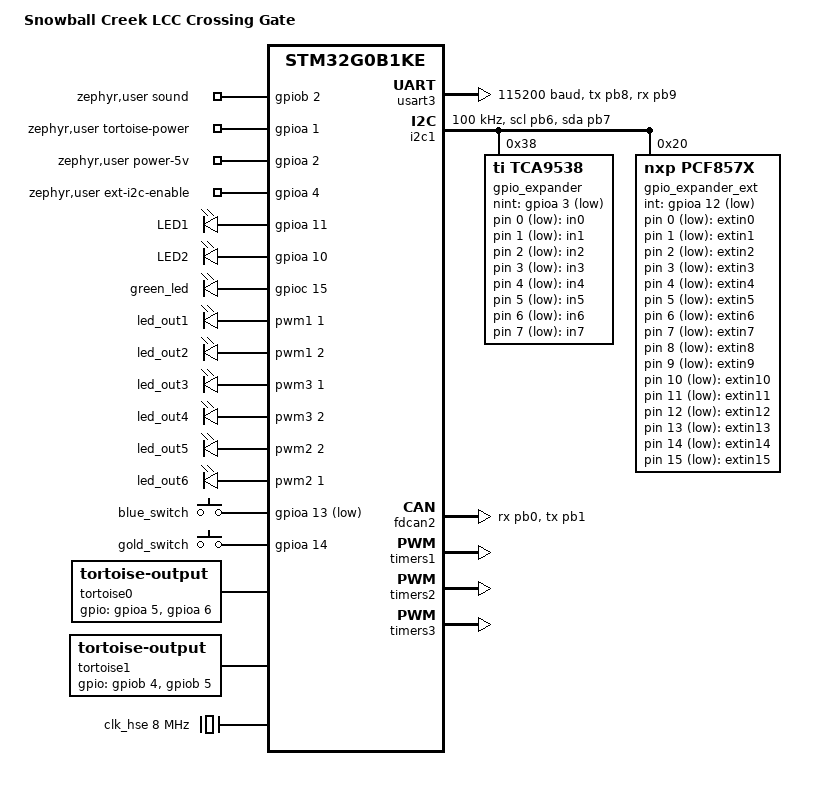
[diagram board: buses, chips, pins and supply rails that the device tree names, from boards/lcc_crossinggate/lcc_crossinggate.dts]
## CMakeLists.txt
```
# SPDX-License-Identifier: Apache-2.0

cmake_minimum_required(VERSION 3.20.0)
find_package(Zephyr REQUIRED HINTS $ENV{ZEPHYR_BASE})
project(LCC-Tortoise)

# Bring in the LCC library
#set(LIBLCC_ENABLE_STATIC_CONTEXT ON)
#add_subdirectory(TrainUtils/LCC)

# Zephyr does not want to play with third party libraries nicely:
# https://github.com/zephyrproject-rtos/zephyr/issues/8439
# So we do the highly annoying thing here of re-creating part of the liblcc cmake file
# in order to bring in all of the sources that we need
include(TrainUtils/LCC/lcc-version)

file(GLOB lcc-sources
    TrainUtils/LCC/*.c
    TrainUtils/LCC/*.h
)

target_sources(app PRIVATE 
	src/main.c 
	src/tortoise.c 
	src/lcc-tortoise-state.c
	src/dcc-decode.c
	${lcc-sources}
)
target_include_directories(app PRIVATE
	${CMAKE_CURRENT_SOURCE_DIR}/TrainUtils/LCC
	${CMAKE_CURRENT_BINARY_DIR}/TrainUtils/LCC
)


string(REPLACE "." ";" VERSION_LIST ${LIBLCC_VERSION})
list(GET VERSION_LIST 0 LCC_VERSION_MAJOR)
list(GET VERSION_LIST 1 LCC_VERSION_MINOR)
list(GET VERSION_LIST 2 LCC_VERSION_PATCH)
target_compile_definitions(app PRIVATE
    LIBLCC_BUILD
    LIBLCC_MAJOR=${LCC_VERSION_MAJOR}
    LIBLCC_MINOR=${LCC_VERSION_MINOR}
    LIBLCC_MICRO=${LCC_VERSION_PATCH}
    LIBLCC_HAS_CONFIG_H
)
set(LIBLCC_DEBUG 0)
set(LIBLCC_ENABLE_STATIC_CONTEXT 1)
configure_file( TrainUtils/LCC/lcc-config.h.cmake TrainUtils/LCC/lcc-config.h )
```

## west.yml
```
# Copyright (c) 2021 Nordic Semiconductor ASA
# SPDX-License-Identifier: Apache-2.0

manifest:
  defaults:
    remote: zephyrproject-rtos

  self:
    path: lcc-tortoise

  remotes:
    - name: zephyrproject-rtos
      url-base: https://github.com/zephyrproject-rtos

  projects:
    - name: zephyr
      remote: zephyrproject-rtos
      revision: 3568e1b6d5cdd51a6b964a2a1d6d29200fea2056
      import:
        # By using name-allowlist we can clone only the modules that are
        # strictly needed by the application.
        name-allowlist:
          - cmsis_6      # required by the ARM port
          - hal_stm32  # required by the nucleo_f302r8 board (STM32 based)
          - hal_renesas
    - name: mcuboot
      revision: eecc3f7dab98fee2be213f7b6519a4ad37a65688
      path: bootloader/mcuboot
      groups:
        - bootloader
    - name: mbedtls
      revision: be1dd5b11d8f59af0ab0995985e348a429999013
      path: modules/crypto/mbedtls
      groups:
        - crypto
```

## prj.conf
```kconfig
CONFIG_POLL=y
CONFIG_CAN=y
CONFIG_CAN_INIT_PRIORITY=80
CONFIG_CAN_MAX_FILTER=5

CONFIG_GPIO=y
CONFIG_STATS=y
CONFIG_STATS_NAMES=y
CONFIG_STATS_SHELL=y
CONFIG_CAN_STATS=y

CONFIG_EEPROM=y
CONFIG_FLASH=y
```

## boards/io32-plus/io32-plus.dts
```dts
/*
 * Copyright (c) 2024 Robert Middleton
 *
 * SPDX-License-Identifier: Apache-2.0
 */

/dts-v1/;
#include <st/g0/stm32g0b1Xe.dtsi>
#include <st/g0/stm32g0b1k(b-c-e)tx-pinctrl.dtsi>
#include <zephyr/dt-bindings/input/input-event-codes.h>
#include <zephyr/dt-bindings/pinctrl/stm32-pinctrl.h>
#include <zephyr/dt-bindings/pinctrl/stm32-pinctrl-common.h>

/* CPU: STM32G0B1KE
 * FLASH: 512k
 * SRAM: 128(parity-protected)/144(not parity-protected)
 */

/ {
	model = "io32-plus";
	compatible = "st,stm32g0b1ke-smtc8";

	chosen {
		zephyr,console = &usart2;
		zephyr,shell-uart = &usart2;
		zephyr,uart-mcumgr = &usart2;
		zephyr,sram = &sram0;
		zephyr,flash = &flash0;
		zephyr,code-partition = &slot0_partition;
		zephyr,canbus = &fdcan2;
	};

	aliases {
		greenled = &green_led;
		blueled = &blue_led;
		goldled = &gold_led;
		blueswitch = &blue_switch;
		gpioreset = &gpio_exp_reset;
	};

	zephyr,user {
		output-gpios = <&gpio_expander 0 GPIO_ACTIVE_HIGH>,
		         <&gpio_expander 1 GPIO_ACTIVE_HIGH>,
		         <&gpio_expander 2 GPIO_ACTIVE_HIGH>,
		         <&gpio_expander 3 GPIO_ACTIVE_HIGH>,
		         <&gpio_expander 4 GPIO_ACTIVE_HIGH>,
		         <&gpio_expander 5 GPIO_ACTIVE_HIGH>,
		         <&gpio_expander 6 GPIO_ACTIVE_HIGH>,
		         <&gpio_expander 7 GPIO_ACTIVE_HIGH>,
		         <&gpio_expander2 0 GPIO_ACTIVE_HIGH>,
		         <&gpio_expander2 1 GPIO_ACTIVE_HIGH>,
		         <&gpio_expander2 2 GPIO_ACTIVE_HIGH>,
		         <&gpio_expander2 3 GPIO_ACTIVE_HIGH>,
		         <&gpio_expander2 4 GPIO_ACTIVE_HIGH>,
		         <&gpio_expander2 5 GPIO_ACTIVE_HIGH>,
		         <&gpio_expander2 6 GPIO_ACTIVE_HIGH>,
		         <&gpio_expander2 7 GPIO_ACTIVE_HIGH>;

		input-gpios = <&gpio_in0 0 GPIO_ACTIVE_HIGH>,
				<&gpio_in0 1 GPIO_ACTIVE_HIGH>,
				<&gpio_in0 2 GPIO_ACTIVE_HIGH>,
				<&gpio_in0 3 GPIO_ACTIVE_HIGH>,
				<&gpio_in0 4 GPIO_ACTIVE_HIGH>,
				<&gpio_in0 5 GPIO_ACTIVE_HIGH>,
				<&gpio_in0 6 GPIO_ACTIVE_HIGH>,
				<&gpio_in0 7 GPIO_ACTIVE_HIGH>,
				<&gpio_in1 0 GPIO_ACTIVE_HIGH>,
				<&gpio_in1 1 GPIO_ACTIVE_HIGH>,
				<&gpio_in1 2 GPIO_ACTIVE_HIGH>,
				<&gpio_in1 3 GPIO_ACTIVE_HIGH>,
				<&gpio_in1 4 GPIO_ACTIVE_HIGH>,
				<&gpio_in1 5 GPIO_ACTIVE_HIGH>,
				<&gpio_in1 6 GPIO_ACTIVE_HIGH>,
				<&gpio_in1 7 GPIO_ACTIVE_HIGH>;
	};

	leds: leds {
		compatible = "gpio-leds";
		green_led: led_g {
			gpios = <&gpioc 6 GPIO_ACTIVE_HIGH>;
			label = "Green LED";
		};
		blue_led: led_b {
			gpios = <&gpiob 8 GPIO_ACTIVE_HIGH>;
			label = "Blue LED";
		};
		gold_led: led_gl {
			gpios = <&gpiob 9 GPIO_ACTIVE_HIGH>;
			label = "Gold LED";
		};

		gpio_exp_reset: foo {
			gpios = <&gpioa 8 GPIO_ACTIVE_HIGH>;
		};
	};

	gpio_keys {
		compatible = "gpio-keys";
		blue_switch: button_blue {
			label = "blue_switch";
			gpios = <&gpioa 5 (GPIO_ACTIVE_LOW)>;
		};
		gold_switch: button_gold {
			label = "gold_switch";
			gpios = <&gpioa 14 (GPIO_ACTIVE_HIGH)>;
		};
	};
};

/*
&clk_lsi {
	status = "okay";
};

&clk_hsi {
	status = "okay";
};

&clk_hsi48 {
	status = "okay";
	crs-usb-sof;
};
*/

&clk_hse {
	status = "okay";
	hse-bypass;
	clock-frequency = <DT_FREQ_M(8)>;
};

&pll {
	div-m = <1>;
	mul-n = <16>;
	div-p = <2>;
	div-q = <2>;
	div-r = <4>;
	clocks = <&clk_hse>;
	status = "okay";
};


&rcc {
	clocks = <&pll>;
	clock-frequency = <DT_FREQ_M(32)>;
	ahb-prescaler = <1>;
	apb1-prescaler = <1>;
};


/*
zephyr_udc0: &usb {
	pinctrl-0 = <&usb_dm_pa11 &usb_dp_pa12>;
	pinctrl-names = "default";
	status = "okay";
};
*/

/*
&usart1 {
	pinctrl-0 = <&usart1_tx_pc4 &usart1_rx_pc5>;
	pinctrl-names = "default";
	current-speed = <115200>;
	status = "disabled";
};
*/


/*
&rtc {
	clocks = <&rcc STM32_CLOCK_BUS_APB1 0x00000400>,
		 <&rcc STM32_SRC_LSI RTC_SEL(2)>;
	status = "okay";
};

&iwdg {
	status = "okay";
};
*/

&spi1 {
	pinctrl-0 = <&spi1_sck_pb3
		     &spi1_miso_pb4 &spi1_mosi_pb5>;
	pinctrl-names = "default";
	status = "okay";

	cs-gpios = <&gpiob 6 GPIO_ACTIVE_LOW>,
                   <&gpiob 7 GPIO_ACTIVE_LOW>;

	gpio_expander: mcp23s08@0 {
		compatible = "microchip,mcp23s08";
		spi-max-frequency = <1000000>;
		reg = <0x0>;
		gpio-controller;
		#gpio-cells = <2>;
		ngpios = <8>;
		reset-gpios = <&gpioa 8 GPIO_ACTIVE_LOW>;
	};
	gpio_expander2: mcp23s08@1 {
		compatible = "microchip,mcp23s08";
		spi-max-frequency = <1000000>;
		reg = <0x1>;
		gpio-controller;
		#gpio-cells = <2>;
		ngpios = <8>;
		reset-gpios = <&gpioa 8 GPIO_ACTIVE_LOW>;
	};
};

&usart2 {
	pinctrl-0 = <&usart2_tx_pa2 &usart2_rx_pa3>;
	pinctrl-names = "default";
	current-speed = <115200>;
	status = "okay";
};

&flash0 {
	partitions {
		compatible = "fixed-partitions";
		#address-cells = <1>;
		#size-cells = <1>;

		/* We have 512k of flash, so let's not worry too much about space */
		boot_partition: partition@0 {
			label = "bootloader";
			reg = <0x00000000 DT_SIZE_K(48)>;
			read-only;
		};
		slot0_partition: partition@C000 {
			label = "image-0";
			reg = <0x0000C000 DT_SIZE_K(232)>;
		};
		slot1_partition: partition@46000 {
			label = "image-1";
			reg = <0x00046000 DT_SIZE_K(232)>;
		};
	};
};

&fdcan2 {
	clocks = <&rcc STM32_CLOCK_BUS_APB1 0x00001000>,
		 <&rcc STM32_SRC_PLL_Q FDCAN_SEL(1)>;
	pinctrl-0 = <&fdcan2_rx_pb0 &fdcan2_tx_pb1>;
	pinctrl-names = "default";
	status = "okay";
};

&i2c2 {
	pinctrl-0 = <&i2c2_scl_pa9 &i2c2_sda_pa10>;
	pinctrl-names = "default";
	status = "okay";
	clock-frequency = <I2C_BITRATE_FAST>;

	gpio_in0: tca9538@38 {
		compatible = "ti,tca9538";
		reg = <0x38>;
		gpio-controller;
		#gpio-cells = <2>;
		ngpios = <8>;
		nint-gpios = <&gpioa 11 GPIO_ACTIVE_LOW>;
	};

	gpio_in1: tca9538@39 {
		compatible = "ti,tca9538";
		reg = <0x39>;
		gpio-controller;
		#gpio-cells = <2>;
		ngpios = <8>;
		nint-gpios = <&gpioa 12 GPIO_ACTIVE_LOW>;
	};
};
```

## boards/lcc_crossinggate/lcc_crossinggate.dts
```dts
/*
 * Copyright (c) 2024 Robert Middleton
 *
 * SPDX-License-Identifier: Apache-2.0
 */

/dts-v1/;
#include <st/g0/stm32g0b1Xe.dtsi>
#include <st/g0/stm32g0b1k(b-c-e)tx-pinctrl.dtsi>
#include <zephyr/dt-bindings/input/input-event-codes.h>
#include <zephyr/dt-bindings/pinctrl/stm32-pinctrl.h>
#include <zephyr/dt-bindings/pinctrl/stm32-pinctrl-common.h>
#include <zephyr/dt-bindings/dma/stm32_dma.h>

/* CPU: STM32G0B1KE
 * FLASH: 512k
 * SRAM: 128(parity-protected)/144(not parity-protected)
 */

/ {
	model = "Snowball Creek LCC Crossing Gate";
	compatible = "st,stm32g0b1ke-lcc-crossing-gate";

	chosen {
		zephyr,console = &usart3;
		zephyr,shell-uart = &usart3;
		zephyr,uart-mcumgr = &usart3;
		zephyr,sram = &sram0;
		zephyr,flash = &flash0;
		zephyr,code-partition = &slot0_partition;
		zephyr,canbus = &fdcan2;
	};

	zephyr,user {
		sound-gpios = <&gpiob 2 GPIO_ACTIVE_HIGH>;
		tortoise-power-gpios = <&gpioa 1 GPIO_ACTIVE_HIGH>;
		power-5v-gpios = <&gpioa 2 GPIO_ACTIVE_HIGH>;
		ext-i2c-enable-gpios = <&gpioa 4 GPIO_ACTIVE_HIGH>;
	};

	leds: leds {
		compatible = "gpio-leds";
		gold_led: led_1 {
			gpios = <&gpioa 11 GPIO_ACTIVE_HIGH>;
			label = "LED1";
		};
		blue_led: led_2 {
			gpios = <&gpioa 10 GPIO_ACTIVE_HIGH>;
			label = "LED2";
		};
		green_led: led_3 {
			gpios = <&gpioc 15 GPIO_ACTIVE_HIGH>;
		};
	};

	pwm_bank_1: pwm_bank_1 {
		compatible = "pwm-leds";
		status = "okay";

		led_out1: led_4 {
			pwms = <&pwm1 1 PWM_MSEC(1) PWM_POLARITY_NORMAL>;
		};
		led_out2: led_5 {
			pwms = <&pwm1 2 PWM_MSEC(1) PWM_POLARITY_NORMAL>;
		};
	};

	pwm_bank_2: pwm_bank_2 {
		compatible = "pwm-leds";
		status = "okay";

		led_out3: led_6 {
			pwms = <&pwm3 1 PWM_MSEC(20) PWM_POLARITY_NORMAL>;
		};
		led_out4: led_7 {
			pwms = <&pwm3 2 PWM_MSEC(20) PWM_POLARITY_NORMAL>;
		};
	};

	pwm_bank_3: pwm_bank_3 {
		compatible = "pwm-leds";
		status = "okay";

		led_out5: led_8 {
			pwms = <&pwm2 2 PWM_MSEC(20) PWM_POLARITY_NORMAL>;
		};
		led_out6: led_9 {
			pwms = <&pwm2 1 PWM_MSEC(20) PWM_POLARITY_NORMAL>;
		};
	};

/*
	servo_bank_1: servo_bank_1 {
		compatible = "pwm-servo";
		pwms = <&pwm1 1 PWM_MSEC(20) PWM_POLARITY_NORMAL>,
                       <&pwm1 2 PWM_MSEC(20) PWM_POLARITY_NORMAL>;
		min-pulse = <PWM_USEC(700)>;
		max-pulse = <PWM_USEC(2500)>;
	};
*/

	gpio_keys {
		compatible = "gpio-keys";
		debounce-interval-ms = <30>;

		blue_switch: button_blue {
			label = "blue_switch";
			gpios = <&gpioa 13 (GPIO_ACTIVE_LOW | GPIO_PULL_UP)>;
		};
		gold_switch: button_gold {
			label = "gold_switch";
			gpios = <&gpioa 14 (GPIO_ACTIVE_HIGH)>;
		};

	};

	inputs {
		compatible = "gpio-keys";
		debounce-interval-ms = <0>;

		in0: input0 {
			label = "in0";
			gpios = <&gpio_expander 0 GPIO_ACTIVE_LOW>;
		};
		in1: input1 {
			label = "in1";
			gpios = <&gpio_expander 1 GPIO_ACTIVE_LOW>;
		};
		in2: input2 {
			label = "in2";
			gpios = <&gpio_expander 2 GPIO_ACTIVE_LOW>;
		};
		in3: input3 {
			label = "in3";
			gpios = <&gpio_expander 3 GPIO_ACTIVE_LOW>;
		};
		in4: input4 {
			label = "in4";
			gpios = <&gpio_expander 4 GPIO_ACTIVE_LOW>;
		};
		in5: input5 {
			label = "in5";
			gpios = <&gpio_expander 5 GPIO_ACTIVE_LOW>;
		};
		in6: input6 {
			label = "in6";
			gpios = <&gpio_expander 6 GPIO_ACTIVE_LOW>;
		};
		in7: input7 {
			label = "in7";
			gpios = <&gpio_expander 7 GPIO_ACTIVE_LOW>;
		};

		// external inputs
		extin0: extinput0 {
			label = "extin0";
			gpios = <&gpio_expander_ext 0 GPIO_ACTIVE_LOW>;
		};
		extin1: extinput1 {
			label = "extin1";
			gpios = <&gpio_expander_ext 1 GPIO_ACTIVE_LOW>;
		};
		extin2: extinput2 {
			label = "extin2";
			gpios = <&gpio_expander_ext 2 GPIO_ACTIVE_LOW>;
		};
		extin3: extinput3 {
			label = "extin3";
			gpios = <&gpio_expander_ext 3 GPIO_ACTIVE_LOW>;
		};
		extin4: extinput4 {
			label = "extin4";
			gpios = <&gpio_expander_ext 4 GPIO_ACTIVE_LOW>;
		};
		extin5: extinput5 {
			label = "extin5";
			gpios = <&gpio_expander_ext 5 GPIO_ACTIVE_LOW>;
		};
		extin6: extinput6 {
			label = "extin6";
			gpios = <&gpio_expander_ext 6 GPIO_ACTIVE_LOW>;
		};
		extin7: extinput7 {
			label = "extin7";
			gpios = <&gpio_expander_ext 7 GPIO_ACTIVE_LOW>;
		};
		extin8: extinput8 {
			label = "extin8";
			gpios = <&gpio_expander_ext 8 GPIO_ACTIVE_LOW>;
		};
		extin9: extinput9 {
			label = "extin9";
			gpios = <&gpio_expander_ext 9 GPIO_ACTIVE_LOW>;
		};
		extin10: extinput10 {
			label = "extin10";
			gpios = <&gpio_expander_ext 10 GPIO_ACTIVE_LOW>;
		};
		extin11: extinput11 {
			label = "extin11";
			gpios = <&gpio_expander_ext 11 GPIO_ACTIVE_LOW>;
		};
		extin12: extinput12 {
			label = "extin12";
			gpios = <&gpio_expander_ext 12 GPIO_ACTIVE_LOW>;
		};
		extin13: extinput13 {
			label = "extin13";
			gpios = <&gpio_expander_ext 13 GPIO_ACTIVE_LOW>;
		};
		extin14: extinput14 {
			label = "extin14";
			gpios = <&gpio_expander_ext 14 GPIO_ACTIVE_LOW>;
		};
		extin15: extinput15 {
			label = "extin15";
			gpios = <&gpio_expander_ext 15 GPIO_ACTIVE_LOW>;
		};
	};
};

/*
&clk_lsi {
	status = "okay";
};

&clk_hsi {
	status = "okay";
};

&clk_hsi48 {
	status = "okay";
	crs-usb-sof;
};
*/

&clk_hse {
	status = "okay";
	hse-bypass;
	clock-frequency = <DT_FREQ_M(8)>;
};

&pll {
	div-m = <1>;
	mul-n = <12>;
	div-p = <2>;
	div-q = <2>;
	div-r = <3>;
	clocks = <&clk_hse>;
	status = "okay";
};


&rcc {
	clocks = <&pll>;
	clock-frequency = <DT_FREQ_M(32)>;
	ahb-prescaler = <1>;
	apb1-prescaler = <1>;
};

&usart3 {
	pinctrl-0 = <&usart3_tx_pb8 &usart3_rx_pb9>;
	pinctrl-names = "default";
	current-speed = <115200>;
	status = "okay";
	/* DMAMUX slot 55 = USART3_TX, slot 54 = USART3_RX (STM32G0B1 RM Table 54) */
	dmas = <&dma1 1 55 STM32_DMA_PERIPH_TX>,
	       <&dma1 2 54 STM32_DMA_PERIPH_RX>;
	dma-names = "tx", "rx";
};

&dma1 {
	status = "okay";
};

&dmamux1 {
	status = "okay";
};


/*
&rtc {
	clocks = <&rcc STM32_CLOCK_BUS_APB1 0x00000400>,
		 <&rcc STM32_SRC_LSI RTC_SEL(2)>;
	status = "okay";
};

&iwdg {
	status = "okay";
};
*/

&i2c1 {
	pinctrl-0 = <&i2c1_scl_pb6 &i2c1_sda_pb7>;
	pinctrl-names = "default";
	status = "okay";
	clock-frequency = <I2C_BITRATE_STANDARD>;

	/* Internal TCA9534: sensor inputs in0-in7.
	 */
	gpio_expander: tca9534@38 {
		compatible = "ti,tca9538";
		reg = <0x38>;
		gpio-controller;
		#gpio-cells = <2>;
		ngpios = <8>;
		nint-gpios = <&gpioa 3 GPIO_ACTIVE_LOW>;
	};

	/* External PCF857x: optional additional GPIO expanders
	 * on the external I2C bus (enabled by ext-i2c-enable-gpios / PA4).
	 * Uses deferred-init so the firmware controls when to initialize it.
	 */
	gpio_expander_ext: pcf857x@20 {
		compatible = "nxp,pcf857x";
		reg = <0x20>;
		gpio-controller;
		#gpio-cells = <2>;
		ngpios = <16>;
		status = "okay";
		zephyr,deferred-init;
		int-gpios = <&gpioa 12 GPIO_ACTIVE_LOW>;
	};
};

&fdcan2 {
	clocks = <&rcc STM32_CLOCK_BUS_APB1 0x00001000>,
		 <&rcc STM32_SRC_PLL_Q FDCAN_SEL(1)>;
	pinctrl-0 = <&fdcan2_rx_pb0 &fdcan2_tx_pb1>;
	pinctrl-names = "default";
	status = "okay";
};

&flash0 {
	partitions {
		compatible = "fixed-partitions";
		#address-cells = <1>;
		#size-cells = <1>;

		/* We have 512k of flash, so let's not worry too much about space */
		boot_partition: partition@0 {
			label = "bootloader";
			reg = <0x00000000 DT_SIZE_K(48)>;
			read-only;
		};
		slot0_partition: partition@C000 {
			label = "image-0";
			reg = <0x0000C000 DT_SIZE_K(192)>;
		};
		slot1_partition: partition@3C000 {
			label = "image-1";
			reg = <0x0003C000 DT_SIZE_K(192)>;
		};

		/*
		 * 10k for route config data
		 */
		segment_253: partition@6C000 {
			label = "route_config";
			reg = <0x0006C000 DT_SIZE_K(10)>;
		};

		segment_252: partition@6E800 {
			label = "general_events";
			reg = <0x0006E800 DT_SIZE_K(2)>;
		};

		segment_251: partition@6F000 {
			label = "node_info";
			reg = <0x0006F000 DT_SIZE_K(2)>;
		};

		segment_250: partition@6F800 {
			label = "general_config";
			reg = <0x0006F800 DT_SIZE_K(2)>;
		};

		segment_249: partition@70000 {
			label = "pwm_config";
			reg = <0x00070000 DT_SIZE_K(2)>;
		};

		/*
		 * 2k for LCC ID data
		 */
		lcc_partition: partition@7F000 {
			label = "lcc-partition";
			reg = <0x0007F000 DT_SIZE_K(2)>;
		};
	};
};

/ {
	tortoise0: tort0 {
		compatible = "tortoise-output";
		gpios = <&gpioa 5 GPIO_ACTIVE_HIGH>,
		        <&gpioa 6 GPIO_ACTIVE_HIGH>;
		status = "okay";
        };
	tortoise1: tort1 {
		compatible = "tortoise-output";
		gpios = <&gpiob 4 GPIO_ACTIVE_HIGH>,
		        <&gpiob 5 GPIO_ACTIVE_HIGH>;
		status = "okay";
        };
};

&timers1 {
	st,prescaler = <100>;
	status = "okay";

	pwm1: pwm {
		status = "okay";
		pinctrl-0 = <&tim1_ch1_pa8 &tim1_ch2_pa9>;
		pinctrl-names = "default";
	};
};

&timers2 {
	st,prescaler = <100>;
	status = "okay";

	pwm2: pwm {
		status = "okay";
		pinctrl-0 = <&tim2_ch1_pa15 &tim2_ch2_pb3>;
		pinctrl-names = "default";
	};
};

&timers3 {
	st,prescaler = <100>;
	status = "okay";

	pwm3: pwm {
		status = "okay";
		pinctrl-0 = <&tim3_ch1_pc6 &tim3_ch2_pa7>;
		pinctrl-names = "default";
	};
};

&usart1 {
	status = "disabled";
};
```

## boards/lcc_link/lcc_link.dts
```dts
/*
 * Copyright (c) 2024 Robert Middleton
 *
 * SPDX-License-Identifier: Apache-2.0
 */

/dts-v1/;
#include <st/g0/stm32g0b1Xe.dtsi>
#include <st/g0/stm32g0b1k(b-c-e)tx-pinctrl.dtsi>
#include <zephyr/dt-bindings/input/input-event-codes.h>
#include <zephyr/dt-bindings/pinctrl/stm32-pinctrl.h>
#include <zephyr/dt-bindings/pinctrl/stm32-pinctrl-common.h>

/* CPU: STM32G0B1KE
 * FLASH: 512k
 * SRAM: 128(parity-protected)/144(not parity-protected)
 */

/ {
	model = "Snowball Creek LCC Link";
	compatible = "st,stm32g0b1ke-lcc-link";

	chosen {
		zephyr,console = &usart2;
		zephyr,shell-uart = &usart2;
		zephyr,uart-mcumgr = &usart2;
		zephyr,sram = &sram0;
		zephyr,flash = &flash0;
		zephyr,code-partition = &slot0_partition;
		zephyr,canbus = &fdcan2;
	};

	aliases {
	};

	leds: leds {
		compatible = "gpio-leds";
		status_led: led_1 {
			gpios = <&gpioc 6 GPIO_ACTIVE_HIGH>;
			label = "status_led";
		};
		rx_led: led_2 {
			gpios = <&gpiob 2 GPIO_ACTIVE_HIGH>;
			label = "rx";
		};
		tx_led: led_3 {
			gpios = <&gpioa 8 GPIO_ACTIVE_HIGH>;
			label = "tx";
		};
	};
};

/*
&clk_lsi {
	status = "okay";
};

&clk_hsi {
	status = "okay";
};

&clk_hsi48 {
	status = "okay";
	crs-usb-sof;
};
*/

&clk_hse {
	status = "okay";
	hse-bypass;
	clock-frequency = <DT_FREQ_M(8)>;
};

&pll {
	div-m = <1>;
	mul-n = <12>;
	div-p = <2>;
	div-q = <2>;
	div-r = <3>;
	clocks = <&clk_hse>;
	status = "okay";
};


&rcc {
	clocks = <&pll>;
	clock-frequency = <DT_FREQ_M(32)>;
	ahb-prescaler = <1>;
	apb1-prescaler = <1>;
};


zephyr_udc0: &usb {
	pinctrl-0 = <&usb_dm_pa11 &usb_dp_pa12>;
	pinctrl-names = "default";
	status = "okay";
	// USB_SEL is 2 for some reason:
	// https://klipper.discourse.group/t/stm32g0-usb-clock-config/4487/2
	clocks = <&rcc STM32_CLOCK_BUS_APB1 0x00002000>,
		<&rcc STM32_SRC_PLL_Q USB_SEL(2)>;

/*
	cdc_acm_console: cdc_acm_console {
		compatible = "zephyr,cdc-acm-uart";
	};
*/
	cdc_acm_can: cdc_acm_can {
		compatible = "zephyr,cdc-acm-uart";
	};
	cdc_acm_dcc: cdc_acm_dcc {
		compatible = "zephyr,cdc-acm-uart";
	};
};

/*
&usart1 {
	pinctrl-0 = <&usart1_tx_pc4 &usart1_rx_pc5>;
	pinctrl-names = "default";
	current-speed = <115200>;
	status = "disabled";
};
*/


/*
&rtc {
	clocks = <&rcc STM32_CLOCK_BUS_APB1 0x00000400>,
		 <&rcc STM32_SRC_LSI RTC_SEL(2)>;
	status = "okay";
};

&iwdg {
	status = "okay";
};
*/

/*
&spi1 {
	pinctrl-0 = <&spi1_sck_pb3
		     &spi1_miso_pb4 &spi1_mosi_pb5>;
	pinctrl-names = "default";
	status = "okay";

	cs-gpios = <&gpiob 7 GPIO_ACTIVE_LOW>;

	gpio_expander: mcp23s17@0 {
		compatible = "microchip,mcp23s17";
		spi-max-frequency = <1000000>;
		reg = <0x0>;
		gpio-controller;
		#gpio-cells = <2>;
		ngpios = <16>;
		reset-gpios = <&gpioa 8 GPIO_ACTIVE_LOW>;
	};
};
*/

&usart2 {
	pinctrl-0 = <&usart2_tx_pa2 &usart2_rx_pa3>;
	pinctrl-names = "default";
	current-speed = <115200>;
	status = "okay";
};

&fdcan2 {
	clocks = <&rcc STM32_CLOCK_BUS_APB1 0x00001000>,
		 <&rcc STM32_SRC_PLL_Q FDCAN_SEL(1)>;
	pinctrl-0 = <&fdcan2_rx_pb0 &fdcan2_tx_pb1>;
	pinctrl-names = "default";
	status = "okay";
};

&flash0 {
	partitions {
		compatible = "fixed-partitions";
		#address-cells = <1>;
		#size-cells = <1>;

		/* We have 512k of flash, so let's not worry too much about space */
		boot_partition: partition@0 {
			label = "bootloader";
			reg = <0x00000000 DT_SIZE_K(48)>;
			read-only;
		};
		slot0_partition: partition@C000 {
			label = "image-0";
			reg = <0x0000C000 DT_SIZE_K(192)>;
		};
		slot1_partition: partition@3C000 {
			label = "image-1";
			reg = <0x0003C000 DT_SIZE_K(192)>;
		};

		segment_253: partition@6C000 {
			label = "dcc_config";
			reg = <0x0006C000 DT_SIZE_K(2)>;
		};
		segment_251: partition@6C800 {
			label = "node_info";
			reg = <0x0006C800 DT_SIZE_K(2)>;
		};

		/*
		 * 2k for LCC ID data
		 */
		lcc_partition: partition@7F000 {
			label = "lcc-partition";
			reg = <0x0007F000 DT_SIZE_K(2)>;
		};
	};
};
```

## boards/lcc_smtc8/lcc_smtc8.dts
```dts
/*
 * Copyright (c) 2024 Robert Middleton
 *
 * SPDX-License-Identifier: Apache-2.0
 */

/dts-v1/;
#include <st/g0/stm32g0b1Xe.dtsi>
#include <st/g0/stm32g0b1k(b-c-e)tx-pinctrl.dtsi>
#include <zephyr/dt-bindings/input/input-event-codes.h>
#include <zephyr/dt-bindings/pinctrl/stm32-pinctrl.h>
#include <zephyr/dt-bindings/pinctrl/stm32-pinctrl-common.h>
#include <zephyr/dt-bindings/dma/stm32_dma.h>

/* CPU: STM32G0B1KE
 * FLASH: 512k
 * SRAM: 128(parity-protected)/144(not parity-protected)
 */

/ {
	model = "Snowball Creek LCC SMTC-8";
	compatible = "st,stm32g0b1ke-smtc8";

	chosen {
		zephyr,console = &usart2;
		zephyr,shell-uart = &usart2;
		zephyr,uart-mcumgr = &usart2;
		zephyr,sram = &sram0;
		zephyr,flash = &flash0;
		zephyr,code-partition = &slot0_partition;
		zephyr,canbus = &fdcan2;
	};

	aliases {
		greenled = &green_led;
		blueled = &blue_led;
		goldled = &gold_led;
		blueswitch = &blue_switch;
		gpioreset = &gpio_exp_reset;
	};

	leds: leds {
		compatible = "gpio-leds";
		green_led: led_g {
			gpios = <&gpioc 6 GPIO_ACTIVE_HIGH>;
			label = "Green LED";
		};
		blue_led: led_b {
			gpios = <&gpioa 4 GPIO_ACTIVE_HIGH>;
			label = "Blue LED";
		};
		gold_led: led_gl {
			gpios = <&gpioa 1 GPIO_ACTIVE_HIGH>;
			label = "Gold LED";
		};

		gpio_exp_reset: foo {
			gpios = <&gpioa 8 GPIO_ACTIVE_HIGH>;
		};
	};

	gpio_keys {
		compatible = "gpio-keys";
		blue_switch: button_blue {
			label = "blue_switch";
			gpios = <&gpioa 5 (GPIO_ACTIVE_LOW)>;
		};
		gold_switch: button_gold {
			label = "gold_switch";
			gpios = <&gpioa 14 (GPIO_ACTIVE_HIGH)>;
		};
	};
};

/*
&clk_lsi {
	status = "okay";
};

&clk_hsi {
	status = "okay";
};

&clk_hsi48 {
	status = "okay";
	crs-usb-sof;
};
*/

&clk_hse {
	status = "okay";
	hse-bypass;
	clock-frequency = <DT_FREQ_M(8)>;
};

&pll {
	div-m = <1>;
	mul-n = <16>;
	div-p = <2>;
	div-q = <2>;
	div-r = <4>;
	clocks = <&clk_hse>;
	status = "okay";
};


&rcc {
	clocks = <&pll>;
	clock-frequency = <DT_FREQ_M(32)>;
	ahb-prescaler = <1>;
	apb1-prescaler = <1>;
};


/*
zephyr_udc0: &usb {
	pinctrl-0 = <&usb_dm_pa11 &usb_dp_pa12>;
	pinctrl-names = "default";
	status = "okay";
};
*/

/*
&usart1 {
	pinctrl-0 = <&usart1_tx_pc4 &usart1_rx_pc5>;
	pinctrl-names = "default";
	current-speed = <115200>;
	status = "disabled";
};
*/


/*
&rtc {
	clocks = <&rcc STM32_CLOCK_BUS_APB1 0x00000400>,
		 <&rcc STM32_SRC_LSI RTC_SEL(2)>;
	status = "okay";
};

&iwdg {
	status = "okay";
};
*/

&spi1 {
	pinctrl-0 = <&spi1_sck_pb3
		     &spi1_miso_pb4 &spi1_mosi_pb5>;
	pinctrl-names = "default";
	status = "okay";

	cs-gpios = <&gpiob 7 GPIO_ACTIVE_LOW>;

	gpio_expander: mcp23s17@0 {
		compatible = "microchip,mcp23s17";
		spi-max-frequency = <1000000>;
		reg = <0x0>;
		gpio-controller;
		#gpio-cells = <2>;
		ngpios = <16>;
		reset-gpios = <&gpioa 8 GPIO_ACTIVE_LOW>;
	};
};

&usart2 {
	pinctrl-0 = <&usart2_tx_pa2 &usart2_rx_pa3>;
	pinctrl-names = "default";
	current-speed = <115200>;
	status = "okay";
	/* DMAMUX slot 53 = USART2_TX, slot 52 = USART2_RX (STM32G0B1 RM Table 54) */
	dmas = <&dma1 1 53 STM32_DMA_PERIPH_TX>,
	       <&dma1 2 52 STM32_DMA_PERIPH_RX>;
	dma-names = "tx", "rx";
};

&dma1 {
	status = "okay";
};

&dmamux1 {
	status = "okay";
};

/ {
	tortoise0: tort0 {
		compatible = "tortoise-output";
		gpios = <&gpio_expander 0 GPIO_ACTIVE_HIGH>,
		        <&gpio_expander 1 GPIO_ACTIVE_HIGH>;
		status = "okay";
        };
	tortoise1: tort1 {
		compatible = "tortoise-output";
		gpios = <&gpio_expander 2 GPIO_ACTIVE_HIGH>,
		        <&gpio_expander 3 GPIO_ACTIVE_HIGH>;
		status = "okay";
        };
	tortoise2: tort2 {
		compatible = "tortoise-output";
		gpios = <&gpio_expander 4 GPIO_ACTIVE_HIGH>,
		        <&gpio_expander 5 GPIO_ACTIVE_HIGH>;
		status = "okay";
        };
	tortoise3: tort3 {
		compatible = "tortoise-output";
		gpios = <&gpio_expander 6 GPIO_ACTIVE_HIGH>,
		        <&gpio_expander 7 GPIO_ACTIVE_HIGH>;
		status = "okay";
        };
	tortoise4: tort4 {
		compatible = "tortoise-output";
		gpios = <&gpio_expander 14 GPIO_ACTIVE_HIGH>,
		        <&gpio_expander 15 GPIO_ACTIVE_HIGH>;
		status = "okay";
        };
	tortoise5: tort5 {
		compatible = "tortoise-output";
		gpios = <&gpio_expander 12 GPIO_ACTIVE_HIGH>,
		        <&gpio_expander 13 GPIO_ACTIVE_HIGH>;
		status = "okay";
        };
	tortoise6: tort6 {
		compatible = "tortoise-output";
		gpios = <&gpio_expander 10 GPIO_ACTIVE_HIGH>,
		        <&gpio_expander 11 GPIO_ACTIVE_HIGH>;
		status = "okay";
        };
	tortoise7: tort7 {
		compatible = "tortoise-output";
		gpios = <&gpio_expander 8 GPIO_ACTIVE_HIGH>,
		        <&gpio_expander 9 GPIO_ACTIVE_HIGH>;
		status = "okay";
        };
};

&flash0 {
	partitions {
		compatible = "fixed-partitions";
		#address-cells = <1>;
		#size-cells = <1>;

		/* We have 512k of flash, so let's not worry too much about space */
		boot_partition: partition@0 {
			label = "bootloader";
			reg = <0x00000000 DT_SIZE_K(48)>;
			read-only;
		};
		slot0_partition: partition@C000 {
			label = "image-0";
			reg = <0x0000C000 DT_SIZE_K(192)>;
		};
		slot1_partition: partition@3C000 {
			label = "image-1";
			reg = <0x0003C000 DT_SIZE_K(192)>;
		};

		/*
		 * 4k for the position of the decoded DCC turnouts.
		 * Each position is 2 bits.
		 */
		switch_tracking_partition: partition@7D000 {
			label = "switch_tracking";
			reg = <0x0007D000 DT_SIZE_K(4)>;
		};

		/*
		 * 2k reserved for app storage partition.
		 * This is used for configuration data.
		 */
		config_partition: partition@7E000 {
			label = "config";
			reg = <0x0007E000 DT_SIZE_K(2)>;
		};
		/*
		 * 2k for data that needs to be saved on shutdown.
		 * This is used for the current tortoise position.
		 */
		location_partition: partition@7E800 {
			label = "location-partition";
			reg = <0x0007E800 DT_SIZE_K(2)>;
		};
		/*
		 * 2k for LCC ID data
		 */
		lcc_partition: partition@7F000 {
			label = "lcc-partition";
			reg = <0x0007F000 DT_SIZE_K(2)>;
		};

		global_partition: partition@7F800 {
			label = "global-partition";
			reg = <0x0007F800 DT_SIZE_K(2)>;
		};
	};
};

&fdcan2 {
	clocks = <&rcc STM32_CLOCK_BUS_APB1 0x00001000>,
		 <&rcc STM32_SRC_PLL_Q FDCAN_SEL(1)>;
	pinctrl-0 = <&fdcan2_rx_pb0 &fdcan2_tx_pb1>;
	pinctrl-names = "default";
	status = "okay";
};
```

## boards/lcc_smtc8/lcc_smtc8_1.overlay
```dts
&gold_led {
	gpios = <&gpioa 7 GPIO_ACTIVE_HIGH>;
};

&blue_led {
	gpios = <&gpioa 6 GPIO_ACTIVE_HIGH>;
};

&spi1 {
	cs-gpios = <&gpiob 6 GPIO_ACTIVE_LOW>;
};
```

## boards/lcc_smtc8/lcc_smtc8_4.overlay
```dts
&gold_led {
	gpios = <&gpioa 7 GPIO_ACTIVE_HIGH>;
};
```

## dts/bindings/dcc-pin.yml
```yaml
description: GPIO pin to use as DCC input signal

compatible: "dcc-pin"

properties:
  gpios:
    type: phandle-array
    required: true
    description: |
      The GPIO used to decode the DCC signal
```

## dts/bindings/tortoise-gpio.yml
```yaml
description: GPIO pin pair to control a tortoise output

compatible: "tortoise-output"

properties:
  gpios:
    type: phandle-array
    required: true
    description: |
      The GPIOs used to control the tortoise
```

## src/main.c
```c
/*
 * SPDX-License-Identifier: GPL-2.0
 */

#include <stdio.h>
#include <assert.h>
#include <zephyr/kernel.h>
#include <zephyr/drivers/gpio.h>
#include <zephyr/drivers/can.h>
#include <zephyr/drivers/eeprom.h>
#include <zephyr/device.h>

#include "lcc-tortoise-state.h"
#include "tortoise.h"
#include "dcc-decode.h"
#include "tortoise-cdi.h"

#include "lcc.h"
#include "lcc-common.h"
#include "lcc-event.h"
#include "lcc-memory.h"

/* 1000 msec = 1 sec */
#define SLEEP_TIME_MS   1000

#define ADDRESS_SPACE_251_OFFSET 0
#define ADDRESS_SPACE_253_OFFSET 128

// Statically allocated buffer for the reading/writing of any tortoise configs
struct tortoise_config tortoise_configs_buffer[8];

const struct device *const can_dev = DEVICE_DT_GET(DT_CHOSEN(zephyr_canbus));
static struct can_frame zephyr_can_frame_tx;
static struct lcc_can_frame lcc_rx;

static struct gpio_callback blue_button_cb_data;
static struct gpio_callback gold_button_cb_data;

struct k_work state_change_work;
enum can_state current_state;
struct can_bus_err_cnt current_err_cnt;

#define STATE_POLL_THREAD_STACK_SIZE 512
#define STATE_POLL_THREAD_PRIORITY 2

K_THREAD_STACK_DEFINE(poll_state_stack, STATE_POLL_THREAD_STACK_SIZE);
K_THREAD_STACK_DEFINE(dcc_signal_stack, 128);

struct k_thread poll_state_thread_data;
struct k_thread dcc_thread_data;
CAN_MSGQ_DEFINE(rx_msgq, 2);

char *state_to_str(enum can_state state)
{
	switch (state) {
	case CAN_STATE_ERROR_ACTIVE:
		return "error-active";
	case CAN_STATE_ERROR_WARNING:
		return "error-warning";
	case CAN_STATE_ERROR_PASSIVE:
		return "error-passive";
	case CAN_STATE_BUS_OFF:
		return "bus-off";
	case CAN_STATE_STOPPED:
		return "stopped";
	default:
		return "unknown";
	}
}

void poll_state_thread(void *unused1, void *unused2, void *unused3)
{
	struct can_bus_err_cnt err_cnt = {0, 0};
	struct can_bus_err_cnt err_cnt_prev = {0, 0};
	enum can_state state_prev = CAN_STATE_ERROR_ACTIVE;
	enum can_state state;
	int err;

	while (1) {
		err = can_get_state(can_dev, &state, &err_cnt);
		if (err != 0) {
			printf("Failed to get CAN controller state: %d", err);
			k_sleep(K_MSEC(100));
			continue;
		}

		if (err_cnt.tx_err_cnt != err_cnt_prev.tx_err_cnt ||
		    err_cnt.rx_err_cnt != err_cnt_prev.rx_err_cnt ||
		    state_prev != state) {

			err_cnt_prev.tx_err_cnt = err_cnt.tx_err_cnt;
			err_cnt_prev.rx_err_cnt = err_cnt.rx_err_cnt;
			state_prev = state;
			printf("state: %s\n"
			       "rx error count: %d\n"
			       "tx error count: %d\n",
			       state_to_str(state),
			       err_cnt.rx_err_cnt, err_cnt.tx_err_cnt);
		} else {
			k_sleep(K_MSEC(100));
		}
	}
}

void state_change_work_handler(struct k_work *work)
{
	printf("State Change ISR\nstate: %s\n"
	       "rx error count: %d\n"
	       "tx error count: %d\n",
		state_to_str(current_state),
		current_err_cnt.rx_err_cnt, current_err_cnt.tx_err_cnt);
}

void state_change_callback(const struct device *dev, enum can_state state,
			   struct can_bus_err_cnt err_cnt, void *user_data)
{
	struct k_work *work = (struct k_work *)user_data;

	ARG_UNUSED(dev);

	current_state = state;
	current_err_cnt = err_cnt;
	k_work_submit(work);
}

static int lcc_write_cb(struct lcc_context*, struct lcc_can_frame* lcc_frame){
	memset(&zephyr_can_frame_tx, 0, sizeof(zephyr_can_frame_tx));
	zephyr_can_frame_tx.id = lcc_frame->can_id;
	zephyr_can_frame_tx.dlc = lcc_frame->can_len;
	zephyr_can_frame_tx.flags = CAN_FRAME_IDE;
	memcpy(zephyr_can_frame_tx.data, lcc_frame->data, 8);

	printf("Send frame 0x%08X\n", lcc_frame->can_id);

	int stat = can_send(can_dev, &zephyr_can_frame_tx, K_FOREVER, NULL, NULL );
	if( stat == 0 ){
		return LCC_OK;
	}

	return LCC_ERROR_TX;
}

static void incoming_event(struct lcc_context* ctx, uint64_t event_id){
	if( !lcc_event_id_is_accessory_address( event_id) ){
		return;
	}

	struct lcc_accessory_address addr;

	if( lcc_event_id_to_accessory_decoder_2040(event_id, &addr) < 0){
		return;
	}

	printf("accy %d\n", addr.dcc_accessory_address);

	for(int x = 0; x < 8; x++){
		struct tortoise* current_tort = &lcc_tortoise_state.tortoises[x];
		if(current_tort->config.accessory_number == addr.dcc_accessory_address){
			// This tortoise should change state
			printf("tortoise change\n");
			tortoise_set_position(current_tort, addr.active ? REVERSED : NORMAL);
		}
	}
}

static void init_rx_queue(){
	const struct can_filter filter = {
			.flags = CAN_FILTER_IDE,
			.id = 0x0,
			.mask = 0
	};
	struct can_frame frame;
	int filter_id;

	filter_id = can_add_rx_filter_msgq(can_dev, &rx_msgq, &filter);
	printf("Filter ID: %d\n", filter_id);
}

static void check_eeprom(){
	uint32_t values[2];

	int rc = eeprom_read(lcc_tortoise_state.fram, 1024, &values, sizeof(values));
	if(rc < 0){
		printf("Can't read eeprom: %d\n", rc);
		return;
	}

	printf("values:\n");
	printf("  0x%08x\n", values[0]);
	printf("  0x%08x\n", values[1]);

	values[0] = values[0] + 1;
	values[1] = values[1] * 2;
	rc = eeprom_write(lcc_tortoise_state.fram, 1024, &values, sizeof(values));
	if(rc < 0){
		printf("Can't write eeprom: %d\n", rc);
		return;
	}
}

static void load_tortoise_settings(){
	// Tortoise config data is 32 bytes long
	struct tortoise_config current_config;
	uint32_t offset = 0;

	_Static_assert(sizeof(current_config) == 32);

	for(int x = 0; x < 8; x++){
		int rc = eeprom_read(lcc_tortoise_state.fram, offset, &current_config, sizeof(current_config));
		if(rc < 0){
			printf("Can't read eeprom: %d\n", rc);
			return;
		}

		memcpy(&lcc_tortoise_state.tortoises[x].config, &current_config, sizeof(current_config));

		if( lcc_tortoise_state.tortoises[x].config.startup_control == STARTUP_THROWN ){
			lcc_tortoise_state.tortoises[x].current_position = REVERSED;
		}else if( lcc_tortoise_state.tortoises[x].config.startup_control == STARTUP_CLOSED ){
			lcc_tortoise_state.tortoises[x].current_position = NORMAL;
		}else{
			lcc_tortoise_state.tortoises[x].current_position = current_config.last_known_pos;
		}
	}
}

static void convert_settings_to_bigendian(){
	for( int x = 0; x < 8; x++ ){
		memcpy( &tortoise_configs_buffer[x], &lcc_tortoise_state.tortoises[x].config, sizeof(struct tortoise_config) );

		tortoise_configs_buffer[x].event_id_closed = __builtin_bswap64(tortoise_configs_buffer[x].event_id_closed);
		tortoise_configs_buffer[x].event_id_thrown = __builtin_bswap64(tortoise_configs_buffer[x].event_id_thrown);
		tortoise_configs_buffer[x].accessory_number = __builtin_bswap16(tortoise_configs_buffer[x].accessory_number);
	}
}

void mem_address_space_information_query(struct lcc_memory_context* ctx, uint16_t alias, uint8_t address_space){
	if(address_space == 251){
		lcc_memory_respond_information_query(ctx, alias, 1, address_space, 64 + 64, 0, 0);
	}else if(address_space == 253){
		// basic config space
		// 32 bytes * 8 tortoises
		uint32_t upper_address = sizeof(struct tortoise_config) * 8;
		lcc_memory_respond_information_query(ctx, alias, 1, address_space, upper_address, 0, 0);
	}else{
		// This memory space does not exist: return an error
		lcc_memory_respond_information_query(ctx, alias, 0, address_space, 0, 0, 0);
	}
}

void mem_address_space_read(struct lcc_memory_context* ctx, uint16_t alias, uint8_t address_space, uint32_t starting_address, uint8_t read_count){
	 if(address_space == 251){
	    // This space is what we use for node name/description
	    uint8_t buffer[64];
	    int rc = eeprom_read(lcc_tortoise_state.fram, ADDRESS_SPACE_251_OFFSET + starting_address, &buffer, read_count);
	    if(rc < 0){
	    	lcc_memory_respond_read_reply_fail(ctx, alias, address_space, 0, 0, NULL);
	    	return;
	    }

	    // For any blank data, we will read 0xFF
	    // In this example, we know that we have strings, so replace all 0xFF with 0x00
	    for(int x = 0; x < sizeof(buffer); x++){
	      if(buffer[x] == 0xFF){
	        buffer[x] = 0x00;
	      }
	    }

	    lcc_memory_respond_read_reply_ok(ctx, alias, address_space, starting_address, buffer, read_count);
	  }else if(address_space == 253){
		// Basic config space
		if(starting_address + read_count > (sizeof(struct tortoise_config) * 8)){
		  // trying to read too much memory
		  lcc_memory_respond_read_reply_fail(ctx, alias, address_space, 0, 0, NULL);
		  return;
		}

		// LCC is defined as big-endian: convert everything to big-endian in our buffer
		convert_settings_to_bigendian();
	    uint8_t* config_as_u8 = (uint8_t*)&tortoise_configs_buffer;

	    lcc_memory_respond_read_reply_ok(ctx, alias, address_space, starting_address, config_as_u8, read_count);
	  }
}

void save_configs_to_fram(){
	for( int x = 0; x < 8; x++ ){
		memcpy( &tortoise_configs_buffer[x], &lcc_tortoise_state.tortoises[x].config, sizeof(struct tortoise_config) );
	}

	int rc = eeprom_write(lcc_tortoise_state.fram, ADDRESS_SPACE_253_OFFSET, tortoise_configs_buffer, sizeof(tortoise_configs_buffer));
}

void mem_address_space_write(struct lcc_memory_context* ctx, uint16_t alias, uint8_t address_space, uint32_t starting_address, void* data, int data_len){
	  if(address_space == 251){
	    eeprom_write(lcc_tortoise_state.fram, ADDRESS_SPACE_251_OFFSET + starting_address, data, data_len);

	    lcc_memory_respond_write_reply_ok(ctx, alias, address_space, starting_address);
	  }else if(address_space == 253){
		  convert_settings_to_bigendian();
		  uint8_t* buffer_u8 = (uint8_t*)tortoise_configs_buffer;

		  memcpy(buffer_u8, data, data_len);

	    // Write out to FRAM
	    save_configs_to_fram();

	    lcc_memory_respond_write_reply_ok(ctx, alias, address_space, starting_address);
	  }else{
	    lcc_memory_respond_write_reply_fail(ctx, alias, address_space, starting_address, 0, NULL);
	    return;
	  }
}

int main(void)
{
	int ret;
	bool led_state = true;
	k_tid_t rx_tid, get_state_tid;
	k_tid_t dcc_thread;

	_Static_assert(sizeof(struct tortoise_config) == 32);

	if(lcc_tortoise_state_init() < 0){
		// This uses only static data to initialize, so this should never happen.
		printf("error: unable to initialize!\n");
		return 0;
	}

	dcc_decode.gpio_pin = &lcc_tortoise_state.dcc_signal;
	dcc_decode.led_pin = &lcc_tortoise_state.blue_led;

	// Load the tortoise settings, and set the outputs to the correct valu depending on their startup settings
	load_tortoise_settings();
	for(int x = 0; x < 8; x++){
		tortoise_set_position(&lcc_tortoise_state.tortoises[x], lcc_tortoise_state.tortoises[x].current_position);

		// accy numbers 1-8 for now
		lcc_tortoise_state.tortoises[x].config.accessory_number = x + 1;
	}

	if (!device_is_ready(can_dev)) {
		printf("CAN: Device %s not ready.\n", can_dev->name);
		return 0;
	}

	ret = can_start(can_dev);
	if(ret != 0){
		printf("Can't start CAN\n");
		return 0;
	}

	k_work_init(&state_change_work, state_change_work_handler);

	get_state_tid = k_thread_create(&poll_state_thread_data,
					poll_state_stack,
					K_THREAD_STACK_SIZEOF(poll_state_stack),
					poll_state_thread, NULL, NULL, NULL,
					STATE_POLL_THREAD_PRIORITY, 0,
					K_NO_WAIT);
	if (!get_state_tid) {
		printf("ERROR spawning poll_state_thread\n");
	}

	dcc_thread = k_thread_create(&dcc_thread_data,
			dcc_signal_stack,
			K_THREAD_STACK_SIZEOF(dcc_signal_stack),
			dcc_decoder_thread, NULL, NULL, NULL,
			STATE_POLL_THREAD_PRIORITY, 0,
			K_NO_WAIT);
	if (!dcc_thread) {
		printf("ERROR spawning dcc thread\n");
	}

	can_set_state_change_callback(can_dev, state_change_callback, &state_change_work);

	init_rx_queue();

//	check_eeprom();

	lcc_tortoise_state.lcc_context = lcc_context_new();
	if(lcc_tortoise_state.lcc_context == NULL){
		// This uses only static data to initialize, so this should never happen.
		printf("error: unable to initialize!\n");
		return 0;
	}

	struct lcc_context* ctx = lcc_tortoise_state.lcc_context;
	lcc_context_set_unique_identifer( ctx,
			0x020202000012ll );
	lcc_context_set_simple_node_information(ctx,
			"Snowball Creek",
			"Tortoise-8",
			"0.1",
			"0.1");

	lcc_context_set_write_function( ctx, lcc_write_cb, NULL );
	struct lcc_event_context* evt_ctx = lcc_event_new(ctx);

	lcc_event_set_incoming_event_function(evt_ctx, incoming_event);
	lcc_event_set_listen_all_events(evt_ctx, 1);

	lcc_datagram_context_new(ctx);
	struct lcc_memory_context* mem_ctx = lcc_memory_new(ctx);
	lcc_memory_set_cdi(mem_ctx, cdi, sizeof(cdi), 0);
	lcc_memory_set_memory_functions(mem_ctx,
	    mem_address_space_information_query,
	    mem_address_space_read,
	    mem_address_space_write);

	int stat = lcc_context_generate_alias( ctx );
	if(stat < 0){
		printf("error: can't gen alias: %d\n", stat);
		return 0;
	}
	uint64_t claim_alias_time = k_uptime_get() + 250;
	uint64_t blinky_time = claim_alias_time;
	struct can_frame rx_frame;

	while (1) {
		if(k_uptime_get() >= blinky_time){
			ret = gpio_pin_toggle_dt(&lcc_tortoise_state.green_led);
			if (ret < 0) {
				return 0;
			}

			led_state = !led_state;
			blinky_time = k_uptime_get() + 250;
		}

		if(k_uptime_get() >= claim_alias_time &&
		    lcc_context_current_state(ctx) == LCC_STATE_INHIBITED){
		    int stat = lcc_context_claim_alias(ctx);
		    if(stat != LCC_OK){
		      // If we were unable to claim our alias, we need to generate a new one and start over
		      lcc_context_generate_alias(ctx);
		      claim_alias_time = k_uptime_get() + 220;
		    }else{
		      printf("Claimed alias %X\n", lcc_context_alias(ctx) );
		    }
		  }

		// Receive a CAN frame if there is any
		if(k_msgq_get(&rx_msgq, &rx_frame, K_NO_WAIT) == 0){
			memset(&lcc_rx, 0, sizeof(lcc_rx));
			lcc_rx.can_id = rx_frame.id;
			lcc_rx.can_len = rx_frame.dlc;
			memcpy(lcc_rx.data, rx_frame.data, 8);

			printf("Incoming frame: %x\n", lcc_rx.can_id);
			lcc_context_incoming_frame(ctx, &lcc_rx);
		}

		k_yield();
	}
	return 0;
}
```

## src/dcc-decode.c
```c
/*
 * dcc-decode.c
 *
 *  Created on: Jun 17, 2024
 *      Author: robert
 */
#include <stdint.h>
#include <zephyr/kernel.h>
#include <zephyr/drivers/gpio.h>
#include "dcc-decode.h"

struct dcc_decoder dcc_decode;

void dcc_decoder_thread(void*, void*, void*){
	uint32_t num_times = 0;
	int prev = 0;

	while(1){
		int state = gpio_pin_get_dt(dcc_decode.gpio_pin);
		if( state != prev ){
			prev = state;
			num_times++;
		}

		if( num_times % 100 == 0 ){
			gpio_pin_toggle_dt(dcc_decode.led_pin);
		}
	}
}
```

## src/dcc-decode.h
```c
/*
 * dcc-decode.h
 *
 *  Created on: Jun 17, 2024
 *      Author: robert
 */

#ifndef LCC_TORTOISE_ZEPHYR_SRC_DCC_DECODE_H_
#define LCC_TORTOISE_ZEPHYR_SRC_DCC_DECODE_H_

struct dcc_decoder{
	const struct gpio_dt_spec* gpio_pin;
	const struct gpio_dt_spec* led_pin;
};

extern struct dcc_decoder dcc_decode;

void dcc_decoder_thread(void*, void*, void*);

#endif /* LCC_TORTOISE_ZEPHYR_SRC_DCC_DECODE_H_ */
```

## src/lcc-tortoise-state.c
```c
/*
 * lcc-tortoise-state.c
 *
 *  Created on: May 19, 2024
 *      Author: robert
 */

#include <zephyr/kernel.h>
#include <zephyr/drivers/gpio.h>

#include "lcc-tortoise-state.h"
#include "tortoise.h"

struct lcc_tortoise_state lcc_tortoise_state = {
		.green_led = GPIO_DT_SPEC_GET(DT_ALIAS(greenled), gpios),
		.blue_led = GPIO_DT_SPEC_GET(DT_ALIAS(blueled), gpios),
		.gold_led = GPIO_DT_SPEC_GET(DT_ALIAS(goldled), gpios),
		.blue_button = GPIO_DT_SPEC_GET(DT_NODELABEL(blue_switch), gpios),
		.gold_button = GPIO_DT_SPEC_GET(DT_NODELABEL(gold_switch), gpios),
		.dcc_signal = GPIO_DT_SPEC_GET(DT_NODELABEL(dcc_pin), gpios),
		.fram = DEVICE_DT_GET(DT_ALIAS(fram)),
		.tortoises = {
				{
						.gpios = {
								GPIO_DT_SPEC_GET_BY_IDX(DT_NODELABEL(tortoise0), gpios, 0),
								GPIO_DT_SPEC_GET_BY_IDX(DT_NODELABEL(tortoise0), gpios, 1)
						},
						.position = NORMAL
				},
				{
						.gpios = {
								GPIO_DT_SPEC_GET_BY_IDX(DT_NODELABEL(tortoise1), gpios, 0),
								GPIO_DT_SPEC_GET_BY_IDX(DT_NODELABEL(tortoise1), gpios, 1)
						},
						.position = NORMAL
				},
				{
						.gpios = {
								GPIO_DT_SPEC_GET_BY_IDX(DT_NODELABEL(tortoise2), gpios, 0),
								GPIO_DT_SPEC_GET_BY_IDX(DT_NODELABEL(tortoise2), gpios, 1)
						},
						.position = NORMAL
				},
				{
						.gpios = {
								GPIO_DT_SPEC_GET_BY_IDX(DT_NODELABEL(tortoise3), gpios, 0),
								GPIO_DT_SPEC_GET_BY_IDX(DT_NODELABEL(tortoise3), gpios, 1)
						},
						.position = NORMAL
				},
				{
						.gpios = {
								GPIO_DT_SPEC_GET_BY_IDX(DT_NODELABEL(tortoise4), gpios, 0),
								GPIO_DT_SPEC_GET_BY_IDX(DT_NODELABEL(tortoise4), gpios, 1)
						},
						.position = NORMAL
				},
				{
						.gpios = {
								GPIO_DT_SPEC_GET_BY_IDX(DT_NODELABEL(tortoise5), gpios, 0),
								GPIO_DT_SPEC_GET_BY_IDX(DT_NODELABEL(tortoise5), gpios, 1)
						},
						.position = NORMAL
				},
				{
						.gpios = {
								GPIO_DT_SPEC_GET_BY_IDX(DT_NODELABEL(tortoise6), gpios, 0),
								GPIO_DT_SPEC_GET_BY_IDX(DT_NODELABEL(tortoise6), gpios, 1)
						},
						.position = NORMAL
				},
				{
						.gpios = {
								GPIO_DT_SPEC_GET_BY_IDX(DT_NODELABEL(tortoise7), gpios, 0),
								GPIO_DT_SPEC_GET_BY_IDX(DT_NODELABEL(tortoise7), gpios, 1)
						},
						.position = NORMAL
				},
		}
};

static int init_led(const struct gpio_dt_spec* led){
	if (!gpio_is_ready_dt(led)) {
		return -1;
	}

	if(gpio_pin_configure_dt(led, GPIO_OUTPUT_INACTIVE) < 0){
		return -1;
	}

	return 0;
}

static int init_button(const struct gpio_dt_spec* button){
	if (!gpio_is_ready_dt(button)) {
		return -1;
	}

	if(gpio_pin_configure_dt(button, GPIO_INPUT) < 0){
		return -1;
	}

	// TODO callbacks on button press

	return 0;
}

int lcc_tortoise_state_init(){
	if(init_led(&lcc_tortoise_state.green_led) < 0){
		return -1;
	}
	if(init_led(&lcc_tortoise_state.gold_led) < 0){
		return -1;
	}
	if(init_led(&lcc_tortoise_state.blue_led) < 0){
		return -1;
	}
	if(init_button(&lcc_tortoise_state.blue_button) < 0){
		return -1;
	}
	if(init_button(&lcc_tortoise_state.gold_button) < 0){
		return -1;
	}
	if(init_button(&lcc_tortoise_state.dcc_signal) < 0){
		return -1;
	}

	for(int x = 0; x < 8; x++){
		if(tortoise_init(&lcc_tortoise_state.tortoises[x]) < 0){
			return -1;
		}
	}

	return 0;
}
```

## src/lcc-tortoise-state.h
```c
/*
 * lcc-tortoise-state.h
 *
 *  Created on: May 19, 2024
 *      Author: robert
 */

#ifndef LCC_TORTOISE_ZEPHYR_SRC_LCC_TORTOISE_STATE_H_
#define LCC_TORTOISE_ZEPHYR_SRC_LCC_TORTOISE_STATE_H_

#include <zephyr/drivers/gpio.h>
#include <zephyr/drivers/can.h>

#include "tortoise.h"

struct lcc_context;

/**
 * The global state struct for our application
 */
struct lcc_tortoise_state{
	const struct gpio_dt_spec green_led;
	const struct gpio_dt_spec blue_led;
	const struct gpio_dt_spec gold_led;
	const struct gpio_dt_spec blue_button;
	const struct gpio_dt_spec gold_button;
	const struct gpio_dt_spec dcc_signal;
	const struct device* fram;
	struct tortoise tortoises[8];

	struct lcc_context* lcc_context;
};

extern struct lcc_tortoise_state lcc_tortoise_state;

int lcc_tortoise_state_init();


#endif /* LCC_TORTOISE_ZEPHYR_SRC_LCC_TORTOISE_STATE_H_ */
```

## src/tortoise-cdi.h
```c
/*
 * tortoise-cdi.h
 *
 *  Created on: Jun 17, 2024
 *      Author: robert
 */

#ifndef LCC_TORTOISE_ZEPHYR_SRC_TORTOISE_CDI_H_
#define LCC_TORTOISE_ZEPHYR_SRC_TORTOISE_CDI_H_

const char cdi[] = {
"<?xml version='1.0'?> \
<cdi xmlns:xsi='http://www.w3.org/2001/XMLSchema-instance' xsi:noNamespaceSchemaLocation='http://openlcb.org/schema/cdi/1/1/cdi.xsd'> \
<identification> \
<manufacturer>Snowball Creek</manufacturer> \
<model>Tortoise LCC-8</model> \
<hardwareVersion>0.1</hardwareVersion> \
<softwareVersion>0.1</softwareVersion> \
</identification> \
<acdi/> \
<segment space='251'> \
<name>Node ID</name> \
<group> \
<name>Your name and description for this node</name> \
<string size='63'> \
<name>Node Name</name> \
</string> \
<string size='64' offset='1'> \
<name>Node Description</name> \
</string> \
</group> \
</segment> \
<segment space='253'> \
<name>Outputs</name> \
<group replication='8'> \
<name>OUT</name> \
<repname>Output</repname> \
<eventid> \
<name>Thrown EventID</name> \
<description>Event ID to use to throw the switch</description> \
</eventid> \
<eventid> \
<name>Closed EventID</name> \
<description>Event ID to use to close the switch</description> \
</eventid> \
<int size='2'> \
<name>DCC Switch number</name> \
<description>The DCC switch number to react to</description> \
<min>1</min> \
<max>2048</max> \
</int> \
<int size='1'> \
<name>Startup Control</name> \
<description>How this switch should behave on startup</description> \
<map> \
<relation> \
<property>0</property> \
<value>Thrown</value> \
</relation> \
<relation> \
<property>1</property> \
<value>Closed</value> \
</relation> \
<relation> \
<property>2</property> \
<value>Last State</value> \
</relation> \
</map> \
</int> \
<int size='1'> \
<name>Control Type</name> \
<description>How this output is controlled</description> \
<map> \
<relation> \
<property>0</property> \
<value>LCC Only</value> \
</relation> \
<relation> \
<property>1</property> \
<value>DCC Only</value> \
</relation> \
<relation> \
<property>2</property> \
<value>LCC and DCC</value> \
</relation> \
</map> \
</int> \
</group> \
</segment> \
</cdi>"
};

#endif /* LCC_TORTOISE_ZEPHYR_SRC_TORTOISE_CDI_H_ */
```

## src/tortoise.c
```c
/*
 * tortoise.c
 *
 *  Created on: May 19, 2024
 *      Author: robert
 */

#include <zephyr/kernel.h>
#include <zephyr/drivers/gpio.h>

#include "tortoise.h"

int tortoise_init(struct tortoise* tort){
	int ret = 0;

	if (!gpio_is_ready_dt(&tort->gpios[0])) {
		return -1;
	}
	if (!gpio_is_ready_dt(&tort->gpios[1])) {
		return -1;
	}

	ret = gpio_pin_configure_dt(&tort->gpios[0], GPIO_OUTPUT_INACTIVE);
	if (ret < 0) {
		return -1;
	}
	ret = gpio_pin_configure_dt(&tort->gpios[1], GPIO_OUTPUT_INACTIVE);
	if (ret < 0) {
		return -1;
	}

	return 0;
}

int tortoise_set_position(struct tortoise* tort, enum tortoise_position position){
	gpio_pin_set_dt(&tort->gpios[0], 0);
	gpio_pin_set_dt(&tort->gpios[1], 0);

	if(position == NORMAL){
		gpio_pin_set_dt(&tort->gpios[0], 0);
		gpio_pin_set_dt(&tort->gpios[1], 1);
	}else{
		gpio_pin_set_dt(&tort->gpios[0], 1);
		gpio_pin_set_dt(&tort->gpios[1], 0);
	}

	return 0;
}
```
